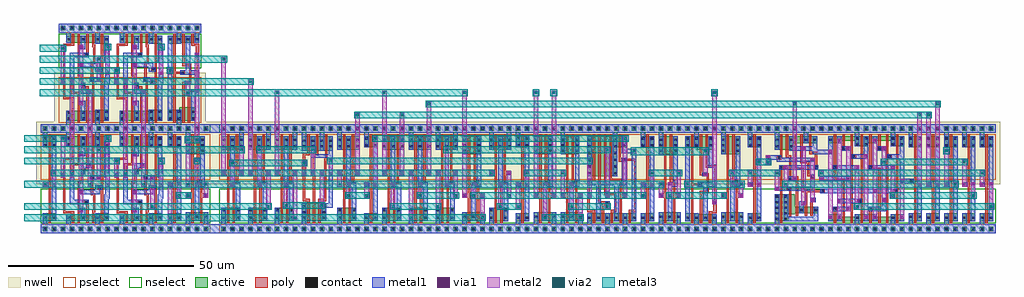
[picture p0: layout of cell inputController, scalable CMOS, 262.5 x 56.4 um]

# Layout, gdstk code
import gdstk
lib = gdstk.Library(unit=1e-6, precision=1e-09)
def R(c, l, rs):  # rectangles x0, y0, x1, y1
    for r in rs: c.add(gdstk.rectangle(r[:2], r[2:], *l))
def A(c, l, x, y, w, h, nx, ny, dx, dy):  # array of equal rectangles
    R(c, l, [(x+i*dx, y+j*dy, x+i*dx+w, y+j*dy+h) for i in range(nx) for j in range(ny)])
def P(c, l, *ps):  # polygons
    for p in ps: c.add(gdstk.Polygon(p, *l))
contact = (25, 0)
nwell = (42, 0)
active = (43, 0)
pselect = (44, 0)
nselect = (45, 0)
poly = (46, 0)
metal1 = (49, 0)
via1 = (50, 0)
metal2 = (51, 0)
via2 = (61, 0)
metal3 = (62, 0)

mux2_dp_1x = lib.new_cell('mux2_dp_1x')
A(mux2_dp_1x, contact, 0.9, -0.3, 0.6, 0.6, 6, 2, 2.4, 27)
A(mux2_dp_1x, contact, 2.4, 2.7, 0.6, 0.6, 3, 2, 3.9, 21.3)
R(mux2_dp_1x, contact, [(12.6,2.7,13.2,3.3), (7.2,6.9,7.8,7.5), (10.8,10.8,11.4,11.4), (8.7,13.5,9.3,14.1), (0.9,14.1,1.5,14.7), (3.3,14.1,3.9,14.7), (6.3,15,6.9,15.6), (10.2,22.2,10.8,22.8), (12.6,22.2,13.2,22.8), (2.4,22.5,3,23.1), (6.3,22.5,6.9,23.1), (12.6,24,13.2,24.6)])
R(mux2_dp_1x, nwell, [(-1.2,12,15.6,28.8)])
A(mux2_dp_1x, active, 0.6, -0.6, 1.2, 1.2, 6, 2, 2.4, 27)
P(mux2_dp_1x, active, [(13.5,4.2),(9.9,4.2),(9.9,3.9),(2.1,3.9),(2.1,2.1),(13.5,2.1)],
  [(13.5,24.9),(2.1,24.9),(2.1,22.2),(9.9,22.2),(9.9,21.9),(13.5,21.9)])
R(mux2_dp_1x, pselect, [(0,-1.2,14.4,1.2), (0,13.2,14.4,25.5)])
R(mux2_dp_1x, nselect, [(0,1.5,14.4,10.8), (0,25.8,14.4,28.2)])
P(mux2_dp_1x, poly, [(4.2,4.8),(1.8,4.8),(1.8,18.6),(4.2,18.6),(4.2,25.5),(3.6,25.5),(3.6,19.2),(1.2,19.2),(1.2,15),(0.6,15),(0.6,13.8),(1.2,13.8),(1.2,4.2),(3.6,4.2),(3.6,1.5),(4.2,1.5)],
  [(5.7,25.5),(5.1,25.5),(5.1,17.7),(3.3,17.7),(3.3,15),(3,15),(3,13.8),(4.2,13.8),(4.2,15),(3.9,15),(3.9,17.1),(5.7,17.1)],
  [(8.1,25.5),(7.5,25.5),(7.5,16.2),(6,16.2),(6,12.9),(5.1,12.9),(5.1,1.5),(5.7,1.5),(5.7,12.3),(6.6,12.3),(6.6,14.7),(7.2,14.7),(7.2,15.6),(8.1,15.6)],
  [(8.1,7.8),(6.9,7.8),(6.9,6.6),(7.5,6.6),(7.5,1.5),(8.1,1.5)],
  [(9.9,9.6),(9.3,9.6),(9.3,13.2),(9.6,13.2),(9.6,25.5),(9,25.5),(9,14.4),(8.4,14.4),(8.4,13.2),(8.7,13.2),(8.7,9),(9.3,9),(9.3,5.1),(9,5.1),(9,1.5),(9.6,1.5),(9.6,4.5),(9.9,4.5)],
  [(12,25.5),(11.4,25.5),(11.4,11.7),(10.5,11.7),(10.5,10.5),(11.4,10.5),(11.4,1.5),(12,1.5)])
R(mux2_dp_1x, metal1, [(0,-1.2,14.4,1.2), (8.4,13.2,11.4,14.4), (0.6,13.8,1.8,15), (0,25.8,14.4,28.2)])
P(mux2_dp_1x, metal1, [(7.2,24.9),(6,24.9),(6,20.7),(5.4,20.7),(5.4,19.5),(7.2,19.5)],
  [(7.2,5.7),(5.4,5.7),(5.4,4.5),(6,4.5),(6,2.1),(7.2,2.1)],
  [(8.1,7.8),(4.2,7.8),(4.2,15),(3,15),(3,6.6),(8.1,6.6)],
  [(9,17.7),(6,17.7),(6,14.7),(7.2,14.7),(7.2,16.5),(9,16.5)],
  [(13.8,15),(13.5,15),(13.5,24.9),(12.3,24.9),(12.3,13.8),(12.6,13.8),(12.6,9.3),(12.3,9.3),(12.3,2.1),(13.5,2.1),(13.5,8.1),(13.8,8.1)],
  [(14.4,1.2),(11.1,1.2),(11.1,4.2),(9.9,4.2),(9.9,1.2),(3.3,1.2),(3.3,3.9),(2.1,3.9),(2.1,1.2),(0,1.2),(0,-1.2),(14.4,-1.2)],
  [(11.7,11.7),(9.9,11.7),(9.9,10.5),(5.4,10.5),(5.4,9.3),(11.1,9.3),(11.1,10.5),(11.7,10.5)],
  [(14.4,28.2),(0,28.2),(0,25.8),(2.1,25.8),(2.1,22.2),(3.3,22.2),(3.3,25.8),(9.9,25.8),(9.9,21.9),(11.1,21.9),(11.1,25.8),(14.4,25.8)])
R(mux2_dp_1x, via1, [(5.7,4.8,6.3,5.4), (5.7,9.6,6.3,10.2), (12.9,11.7,13.5,12.3), (10.5,13.5,11.1,14.1), (0.9,14.1,1.5,14.7), (3.3,14.1,3.9,14.7), (8.1,16.8,8.7,17.4), (5.7,19.8,6.3,20.4)])
R(mux2_dp_1x, metal2, [(5.4,4.5,6.6,20.7), (12.6,11.4,13.8,12.6), (10.2,13.2,11.4,14.4), (0.6,13.8,1.8,15), (3,13.8,4.2,15), (7.8,16.5,9,17.7)])

inv_1x = lib.new_cell('inv_1x')
R(inv_1x, contact, [(0.9,-0.3,1.5,0.3), (3.3,-0.3,3.9,0.3), (0.9,2.7,1.5,3.3), (3.3,2.7,3.9,3.3), (0.9,11.7,1.5,12.3), (0.9,22.2,1.5,22.8), (3.3,22.2,3.9,22.8), (0.9,24,1.5,24.6), (3.3,24,3.9,24.6), (0.9,26.7,1.5,27.3), (3.3,26.7,3.9,27.3)])
R(inv_1x, nwell, [(-1.2,12,6,28.8)])
R(inv_1x, active, [(0.6,-0.6,1.8,0.6), (3,-0.6,4.2,0.6), (0.6,2.1,4.2,4.2), (0.6,21.9,4.2,24.9), (0.6,26.4,1.8,27.6), (3,26.4,4.2,27.6)])
R(inv_1x, pselect, [(0,-1.2,4.8,1.2), (0,13.2,4.8,25.5)])
R(inv_1x, nselect, [(0,1.5,4.8,10.8), (0,25.8,4.8,28.2)])
R(inv_1x, poly, [(2.1,1.5,2.7,25.5), (0.6,11.4,2.1,12.6)])
R(inv_1x, metal1, [(0,-1.2,4.8,1.2), (0,-1.2,4.8,1.2), (0.6,1.2,1.8,4.2), (3,2.1,4.2,24.9), (0.6,11.4,1.8,12.6), (0.6,21.9,1.8,25.8), (0,25.8,4.8,28.2), (0,25.8,4.8,28.2)])
R(inv_1x, via1, [(0.9,11.7,1.5,12.3), (3.3,11.7,3.9,12.3)])
R(inv_1x, metal2, [(0.6,11.4,1.8,12.6), (0.6,11.4,1.8,12.6), (0.6,11.4,1.8,12.6), (0.9,11.4,2.1,12.6), (3,11.4,4.2,12.6), (3,11.4,4.2,12.6)])

nand2_1x = lib.new_cell('nand2_1x')
A(nand2_1x, contact, 0.9, -0.3, 0.6, 0.6, 3, 2, 2.4, 22.2)
A(nand2_1x, contact, 0.9, 23.7, 0.6, 0.6, 3, 2, 2.4, 3)
R(nand2_1x, contact, [(0.9,2.7,1.5,3.3), (4.8,2.7,5.4,3.3), (0.9,4.8,1.5,5.4), (4.8,4.8,5.4,5.4), (0.9,14.7,1.5,15.3), (5.7,14.7,6.3,15.3)])
R(nand2_1x, nwell, [(-1.2,12,8.4,28.8)])
A(nand2_1x, active, 0.6, -0.6, 1.2, 1.2, 3, 2, 2.4, 27)
R(nand2_1x, active, [(0.6,2.1,5.7,5.7), (0.6,21.3,6.6,24.9)])
R(nand2_1x, pselect, [(0,-1.2,7.2,1.2), (0,13.2,7.2,25.5)])
R(nand2_1x, nselect, [(0,1.5,7.2,10.8), (0,25.8,7.2,28.2)])
P(nand2_1x, poly, [(2.7,25.5),(2.1,25.5),(2.1,15.6),(0.6,15.6),(0.6,14.4),(2.1,14.4),(2.1,1.5),(2.7,1.5)],
  [(6.6,15.6),(5.1,15.6),(5.1,25.5),(4.5,25.5),(4.5,12.6),(3.6,12.6),(3.6,1.5),(4.2,1.5),(4.2,12),(5.1,12),(5.1,14.4),(6.6,14.4)])
R(nand2_1x, metal1, [(0,-1.2,7.2,1.2), (0.6,14.4,1.8,15.6), (5.4,14.4,6.6,15.6), (0,25.8,7.2,28.2)])
P(nand2_1x, metal1, [(5.7,12.6),(4.2,12.6),(4.2,24.9),(3,24.9),(3,11.4),(4.5,11.4),(4.5,2.1),(5.7,2.1)],
  [(7.2,28.2),(0,28.2),(0,25.8),(0.6,25.8),(0.6,21.3),(1.8,21.3),(1.8,25.8),(5.4,25.8),(5.4,21.3),(6.6,21.3),(6.6,25.8),(7.2,25.8)],
  [(7.2,1.2),(1.8,1.2),(1.8,5.7),(0.6,5.7),(0.6,1.2),(0,1.2),(0,-1.2),(7.2,-1.2)])
R(nand2_1x, via1, [(3.3,11.7,3.9,12.3), (0.9,14.7,1.5,15.3), (5.7,14.7,6.3,15.3)])
R(nand2_1x, metal2, [(3,11.4,4.2,12.6), (3,11.4,4.2,12.6), (0.6,14.4,1.8,15.6), (0.6,14.4,1.8,15.6), (5.4,14.4,6.6,15.6), (5.4,14.4,6.6,15.6)])

nand3_1x = lib.new_cell('nand3_1x')
A(nand3_1x, contact, 0.9, -0.3, 0.6, 0.6, 4, 2, 2.4, 22.2)
A(nand3_1x, contact, 0.9, 2.7, 0.6, 0.6, 1, 3, 0, 1.5)
A(nand3_1x, contact, 6.3, 2.7, 0.6, 0.6, 1, 3, 0, 1.5)
A(nand3_1x, contact, 0.9, 14.7, 0.6, 0.6, 3, 1, 2.4, 0)
A(nand3_1x, contact, 0.9, 23.4, 0.6, 0.6, 4, 2, 2.4, 3.3)
R(nand3_1x, nwell, [(-1.2,12,10.8,28.8)])
A(nand3_1x, active, 0.6, -0.6, 1.2, 1.2, 4, 2, 2.4, 27)
R(nand3_1x, active, [(0.6,2.1,7.2,6.9), (0.6,21,9,24.9)])
R(nand3_1x, pselect, [(0,-1.2,9.6,1.2), (0,13.2,9.6,25.5)])
R(nand3_1x, nselect, [(0,1.5,9.6,10.8), (0,25.8,9.6,28.2)])
A(nand3_1x, poly, 0.6, 14.4, 1.2, 1.2, 3, 1, 2.4, 0)
P(nand3_1x, poly, [(2.7,8.1),(1.5,8.1),(1.5,19.8),(2.7,19.8),(2.7,25.5),(2.1,25.5),(2.1,20.4),(0.9,20.4),(0.9,7.5),(2.1,7.5),(2.1,1.5),(2.7,1.5)],
  [(5.1,25.5),(4.5,25.5),(4.5,20.4),(3.6,20.4),(3.6,1.5),(4.2,1.5),(4.2,19.8),(5.1,19.8)],
  [(7.5,25.5),(6.9,25.5),(6.9,18.9),(6.6,18.9),(6.6,8.1),(5.1,8.1),(5.1,1.5),(5.7,1.5),(5.7,7.5),(7.2,7.5),(7.2,18.3),(7.5,18.3)])
A(nand3_1x, metal1, 0.6, 14.4, 1.2, 1.2, 3, 1, 2.4, 0)
R(nand3_1x, metal1, [(0,-1.2,9.6,1.2), (0,25.8,9.6,28.2)])
P(nand3_1x, metal1, [(9,24.9),(7.8,24.9),(7.8,20.1),(4.2,20.1),(4.2,24.9),(3,24.9),(3,19.2),(7.8,19.2),(7.8,6.9),(6,6.9),(6,2.1),(7.2,2.1),(7.2,5.7),(9,5.7)],
  [(9.6,28.2),(0,28.2),(0,25.8),(0.6,25.8),(0.6,21),(1.8,21),(1.8,25.8),(5.4,25.8),(5.4,21),(6.6,21),(6.6,25.8),(9.6,25.8)],
  [(9.6,1.2),(1.8,1.2),(1.8,6.9),(0.6,6.9),(0.6,1.2),(0,1.2),(0,-1.2),(9.6,-1.2)])
A(nand3_1x, via1, 0.9, 14.7, 0.6, 0.6, 4, 1, 2.4, 0)
A(nand3_1x, metal2, 0.6, 14.4, 1.2, 1.2, 4, 1, 2.4, 0)

or4_1x = lib.new_cell('or4_1x')
A(or4_1x, contact, 0.9, -0.3, 0.6, 0.6, 6, 2, 2.4, 3)
A(or4_1x, contact, 0.9, 14.7, 0.6, 0.6, 1, 6, 0, 1.8)
A(or4_1x, contact, 7.8, 14.7, 0.6, 0.6, 1, 6, 0, 1.8)
A(or4_1x, contact, 0.9, 26.7, 0.6, 0.6, 6, 1, 2.4, 0)
R(or4_1x, contact, [(5.7,6.6,6.3,7.2), (0.9,8.7,1.5,9.3), (10.5,8.7,11.1,9.3), (5.7,9.3,6.3,9.9), (10.2,18.3,10.8,18.9), (10.2,22.2,10.8,22.8), (10.2,24,10.8,24.6)])
R(or4_1x, nwell, [(-1.2,12,15.6,28.8)])
A(or4_1x, active, 0.6, -0.6, 1.2, 1.2, 6, 2, 2.4, 27)
R(or4_1x, active, [(0.6,2.1,13.8,4.2)])
P(or4_1x, active, [(11.1,24.9),(0.6,24.9),(0.6,14.1),(8.7,14.1),(8.7,21.9),(11.1,21.9)])
R(or4_1x, pselect, [(0,-1.2,14.4,1.2), (0,13.2,14.4,25.5)])
R(or4_1x, nselect, [(0,1.5,14.4,10.8), (0,25.8,14.4,28.2)])
R(or4_1x, poly, [(5.7,9.6,6.6,10.2)])
P(or4_1x, poly, [(6.6,7.5),(4.2,7.5),(4.2,25.5),(3.6,25.5),(3.6,6.9),(4.5,6.9),(4.5,1.5),(5.1,1.5),(5.1,6.3),(6.6,6.3)],
  [(11.4,9.6),(9.9,9.6),(9.9,13.5),(7.2,13.5),(7.2,25.5),(6.6,25.5),(6.6,12.9),(9.3,12.9),(9.3,1.5),(9.9,1.5),(9.9,8.4),(11.4,8.4)],
  [(13.8,18.9),(11.1,18.9),(11.1,19.2),(9.6,19.2),(9.6,25.5),(9,25.5),(9,18),(11.1,18),(11.1,18.3),(13.2,18.3),(13.2,5.1),(11.7,5.1),(11.7,1.5),(12.3,1.5),(12.3,4.5),(13.8,4.5)],
  [(8.4,9.6),(5.7,9.6),(5.7,25.5),(5.1,25.5),(5.1,9),(7.8,9),(7.8,5.1),(6.9,5.1),(6.9,1.5),(7.5,1.5),(7.5,4.5),(8.4,4.5)],
  [(2.7,5.1),(1.2,5.1),(1.2,8.4),(1.8,8.4),(1.8,9.6),(1.2,9.6),(1.2,12.9),(2.7,12.9),(2.7,25.5),(2.1,25.5),(2.1,13.5),(0.6,13.5),(0.6,4.5),(2.1,4.5),(2.1,1.5),(2.7,1.5)])
R(or4_1x, metal1, [(0,-1.2,14.4,1.2), (5.4,5.4,6.6,7.5), (0.6,8.4,1.8,9.6), (5.4,8.4,6.6,10.2), (10.2,8.4,11.4,9.6), (0,25.8,14.4,28.2)])
P(or4_1x, metal1, [(13.8,21.6),(11.1,21.6),(11.1,24.9),(9.9,24.9),(9.9,20.4),(12.6,20.4),(12.6,2.1),(13.8,2.1)],
  [(14.4,28.2),(0,28.2),(0,25.8),(7.5,25.8),(7.5,14.1),(8.7,14.1),(8.7,25.8),(14.4,25.8)],
  [(11.1,19.2),(9.9,19.2),(9.9,12.9),(1.8,12.9),(1.8,24.9),(0.6,24.9),(0.6,11.7),(3,11.7),(3,2.1),(4.2,2.1),(4.2,11.7),(7.8,11.7),(7.8,2.1),(9,2.1),(9,11.7),(11.1,11.7)],
  [(14.4,1.2),(11.4,1.2),(11.4,4.2),(10.2,4.2),(10.2,1.2),(6.6,1.2),(6.6,4.2),(5.4,4.2),(5.4,1.2),(1.8,1.2),(1.8,4.2),(0.6,4.2),(0.6,1.2),(0,1.2),(0,-1.2),(14.4,-1.2)])
A(or4_1x, via1, 0.9, 8.7, 0.6, 0.6, 3, 1, 4.8, 0)
R(or4_1x, via1, [(5.7,5.7,6.3,6.3), (12.9,20.7,13.5,21.3)])
R(or4_1x, metal2, [(5.4,5.4,6.6,6.6), (5.4,5.4,6.6,6.6), (0.6,8.4,1.8,9.6), (0.6,8.4,1.8,9.6), (5.4,8.4,6.6,9.6), (5.4,8.4,6.6,9.6), (10.2,8.4,11.4,9.6), (10.2,8.4,11.4,9.6), (12.6,20.4,13.8,21.6), (12.6,20.4,13.8,21.6)])

nor2_1x = lib.new_cell('nor2_1x')
A(nor2_1x, contact, 0.9, -0.3, 0.6, 0.6, 3, 2, 2.4, 3.3)
A(nor2_1x, contact, 0.9, 20.7, 0.6, 0.6, 1, 3, 0, 1.5)
A(nor2_1x, contact, 4.8, 20.7, 0.6, 0.6, 1, 3, 0, 1.5)
A(nor2_1x, contact, 0.9, 26.7, 0.6, 0.6, 3, 1, 2.4, 0)
R(nor2_1x, contact, [(0.9,8.7,1.5,9.3), (5.7,8.7,6.3,9.3)])
R(nor2_1x, nwell, [(-1.2,12,8.4,28.8)])
A(nor2_1x, active, 0.6, -0.6, 1.2, 1.2, 3, 2, 2.4, 27)
R(nor2_1x, active, [(0.6,2.1,6.6,4.5), (0.6,20.1,5.7,24.9)])
R(nor2_1x, pselect, [(0,-1.2,7.2,1.2), (0,13.2,7.2,25.5)])
R(nor2_1x, nselect, [(0,1.5,7.2,10.8), (0,25.8,7.2,28.2)])
R(nor2_1x, poly, [(2.1,1.5,2.7,25.5), (0.6,8.4,2.1,9.6), (5.1,8.4,6.6,9.6)])
P(nor2_1x, poly, [(5.1,13.2),(4.2,13.2),(4.2,25.5),(3.6,25.5),(3.6,12.6),(4.5,12.6),(4.5,1.5),(5.1,1.5)])
R(nor2_1x, metal1, [(0,-1.2,7.2,1.2), (0.6,8.4,1.8,9.6), (5.4,8.4,6.6,9.6), (0,25.8,7.2,28.2)])
P(nor2_1x, metal1, [(5.7,24.9),(4.5,24.9),(4.5,12.6),(3,12.6),(3,2.1),(4.2,2.1),(4.2,11.4),(5.7,11.4)],
  [(7.2,28.2),(0,28.2),(0,25.8),(0.6,25.8),(0.6,20.1),(1.8,20.1),(1.8,25.8),(7.2,25.8)],
  [(7.2,1.2),(6.6,1.2),(6.6,4.5),(5.4,4.5),(5.4,1.2),(1.8,1.2),(1.8,4.5),(0.6,4.5),(0.6,1.2),(0,1.2),(0,-1.2),(7.2,-1.2)])
R(nor2_1x, via1, [(0.9,8.7,1.5,9.3), (5.7,8.7,6.3,9.3), (3.3,11.7,3.9,12.3)])
R(nor2_1x, metal2, [(0.6,8.4,1.8,9.6), (5.4,8.4,6.6,9.6), (3,11.4,4.2,12.6)])

or2_1x = lib.new_cell('or2_1x')
A(or2_1x, contact, 0.9, -0.3, 0.6, 0.6, 4, 2, 2.4, 3)
A(or2_1x, contact, 0.9, 26.7, 0.6, 0.6, 4, 1, 2.4, 0)
R(or2_1x, contact, [(8.1,6.9,8.7,7.5), (4.2,11.7,4.8,12.3), (5.4,14.4,6,15), (0.9,22.2,1.5,22.8), (3.3,22.2,3.9,22.8), (7.2,22.2,7.8,22.8), (0.9,24,1.5,24.6), (3.3,24,3.9,24.6), (7.2,24,7.8,24.6)])
R(or2_1x, nwell, [(-1.2,12,10.8,28.8)])
A(or2_1x, active, 0.6, -0.6, 1.2, 1.2, 4, 2, 2.4, 27)
R(or2_1x, active, [(0.6,2.1,4.2,4.2), (4.2,2.1,9,3.9), (3.6,21.3,4.2,21.9), (4.2,21.3,8.1,24.9), (0.6,21.9,4.2,24.9)])
R(or2_1x, pselect, [(0,-1.2,9.6,1.2), (0,13.2,9.6,25.5)])
R(or2_1x, nselect, [(0,1.5,9.6,10.8), (0,25.8,9.6,28.2)])
R(or2_1x, poly, [(2.1,1.5,2.7,25.5), (4.5,1.5,5.1,10.2), (6.9,1.5,7.5,4.8), (7.5,4.2,9,4.8), (8.1,4.8,9,6.6), (7.8,6.6,9,7.8), (8.4,7.8,9,17.1), (5.1,9.6,6.3,10.2), (6.3,9.6,6.9,15), (3.9,11.4,5.1,12.6), (2.7,11.7,3.9,12.3), (5.1,14.1,6.3,15.3), (4.5,14.4,5.1,25.5), (6,16.5,6.6,25.5), (6.6,16.5,8.4,17.1)])
R(or2_1x, metal1, [(0,-1.2,9.6,1.2), (0,-1.2,9.6,1.2), (3,1.2,4.2,4.2), (7.8,1.2,9,3.9), (0.6,2.1,1.8,24.9), (5.4,2.1,6.6,11.4), (7.8,6.6,9,7.8), (3.9,11.4,9,12.6), (7.8,12.6,9,17.4), (5.1,14.1,6.6,15.3), (6.9,16.5,8.1,24.9), (3,21.9,4.2,25.8), (0,25.8,9.6,28.2), (0,25.8,9.6,28.2)])
R(or2_1x, via1, [(8.1,6.9,8.7,7.5), (0.9,11.7,1.5,12.3), (5.7,14.4,6.3,15)])
R(or2_1x, metal2, [(7.8,6.6,9,7.8), (0.6,11.4,1.8,12.6), (5.4,14.1,6.6,15.3)])

flopenr_dp_1x = lib.new_cell('flopenr_dp_1x')
A(flopenr_dp_1x, contact, 0.9, -0.3, 0.6, 0.6, 18, 2, 2.4, 27)
A(flopenr_dp_1x, contact, 3.3, 2.4, 0.6, 0.6, 1, 5, 0, 1.5)
A(flopenr_dp_1x, contact, 5.7, 2.4, 0.6, 0.6, 1, 5, 0, 1.5)
A(flopenr_dp_1x, contact, 24.9, 2.7, 0.6, 0.6, 3, 1, 2.4, 0)
A(flopenr_dp_1x, contact, 3.3, 23.7, 0.6, 0.6, 3, 1, 3.9, 0)
A(flopenr_dp_1x, contact, 34.5, 24, 0.6, 0.6, 4, 1, 2.4, 0)
R(flopenr_dp_1x, contact, [(17.7,2.7,18.3,3.3), (20.1,2.7,20.7,3.3), (34.5,2.7,35.1,3.3), (36.9,2.7,37.5,3.3), (39.3,3,39.9,3.6), (41.7,3,42.3,3.6), (9.9,4.8,10.5,5.4), (13.8,4.8,14.4,5.4), (18.9,5.1,19.5,5.7), (28.5,5.1,29.1,5.7), (25.5,7.2,26.1,7.8), (13.2,7.5,13.8,8.1), (15.6,9.9,16.2,10.5), (35.1,9.9,35.7,10.5), (6.6,10.5,7.2,11.1), (39.6,12.6,40.2,13.2), (6.9,13.2,7.5,13.8), (12.9,13.8,13.5,14.4), (4.5,16.2,5.1,16.8), (13.8,16.2,14.4,16.8), (18.9,16.2,19.5,16.8), (28.5,16.2,29.1,16.8), (3.9,18.9,4.5,19.5), (24,19.2,24.6,19.8), (33.6,19.2,34.2,19.8), (21.3,21.3,21.9,21.9), (30.9,21.3,31.5,21.9), (3.3,21.9,3.9,22.5), (7.2,21.9,7.8,22.5), (39.3,22.2,39.9,22.8), (41.7,22.2,42.3,22.8), (24.9,22.5,25.5,23.1), (27.3,22.5,27.9,23.1), (34.5,22.5,35.1,23.1), (36.9,22.5,37.5,23.1), (13.5,23.7,14.1,24.3), (17.7,23.7,18.3,24.3), (20.1,23.7,20.7,24.3), (29.7,23.7,30.3,24.3), (24.9,24,25.5,24.6), (27.3,24,27.9,24.6)])
R(flopenr_dp_1x, nwell, [(-1.2,12,44.4,28.8)])
A(flopenr_dp_1x, active, 0.6, -0.6, 1.2, 1.2, 18, 2, 2.4, 27)
R(flopenr_dp_1x, active, [(3,2.1,6.6,9.3), (17.4,2.1,21,3.9), (21,2.1,24.6,3.3), (24.6,2.1,30.6,3.9), (30.6,2.1,34.2,3.3), (34.2,2.1,37.8,3.9), (39,2.1,42.6,4.2), (6.6,3.9,8.4,9.3), (8.4,4.2,14.7,6), (3,21.3,8.1,24.9), (39,21.9,42.6,24.9), (24.6,22.2,28.2,24.9), (34.2,22.2,37.8,24.9), (8.1,23.1,14.4,24.9), (17.4,23.1,21,24.9), (28.2,23.1,30.6,24.9), (21,23.7,24.6,24.9), (30.6,23.7,34.2,24.9)])
R(flopenr_dp_1x, pselect, [(0,-1.2,43.2,1.2), (0,13.2,43.2,25.5)])
R(flopenr_dp_1x, nselect, [(0,1.5,43.2,10.8), (0,25.8,43.2,28.2)])
P(flopenr_dp_1x, poly, [(5.1,25.5),(4.5,25.5),(4.5,19.8),(3.6,19.8),(3.6,18.6),(4.8,18.6),(4.8,18.9),(5.1,18.9)],
  [(5.4,17.1),(4.2,17.1),(4.2,15.9),(4.5,15.9),(4.5,1.5),(5.1,1.5),(5.1,15.9),(5.4,15.9)],
  [(7.5,11.4),(6.3,11.4),(6.3,10.2),(6.9,10.2),(6.9,3.3),(7.5,3.3)],
  [(9.3,14.1),(7.5,14.1),(7.5,19.8),(6.6,19.8),(6.6,25.5),(6,25.5),(6,19.2),(6.9,19.2),(6.9,14.1),(6.6,14.1),(6.6,12.9),(8.7,12.9),(8.7,3.6),(9.3,3.6)],
  [(13.8,14.7),(12.3,14.7),(12.3,18.3),(10.5,18.3),(10.5,25.5),(9.9,25.5),(9.9,17.7),(11.7,17.7),(11.7,14.1),(12.6,14.1),(12.6,13.5),(13.8,13.5)],
  [(14.1,8.4),(12.9,8.4),(12.9,8.1),(12.6,8.1),(12.6,3.6),(13.2,3.6),(13.2,7.2),(14.1,7.2)],
  [(14.7,17.1),(14.4,17.1),(14.4,20.7),(12.9,20.7),(12.9,25.5),(12.3,25.5),(12.3,20.1),(13.8,20.1),(13.8,17.1),(13.5,17.1),(13.5,15.9),(14.7,15.9)],
  [(16.5,10.8),(15.3,10.8),(15.3,10.5),(10.8,10.5),(10.8,16.5),(9,16.5),(9,25.5),(8.4,25.5),(8.4,15.9),(10.2,15.9),(10.2,9.9),(11.1,9.9),(11.1,3.6),(11.7,3.6),(11.7,9.9),(15.3,9.9),(15.3,9.6),(16.5,9.6)],
  [(19.8,6),(18.6,6),(18.6,4.8),(18.9,4.8),(18.9,1.5),(19.5,1.5),(19.5,4.8),(19.8,4.8)],
  [(21.9,13.5),(19.5,13.5),(19.5,15.9),(19.8,15.9),(19.8,17.1),(19.5,17.1),(19.5,25.5),(18.9,25.5),(18.9,17.1),(18.6,17.1),(18.6,15.9),(18.9,15.9),(18.9,12.9),(21.3,12.9),(21.3,1.5),(21.9,1.5)],
  [(22.2,22.2),(21.9,22.2),(21.9,25.5),(21.3,25.5),(21.3,22.2),(21,22.2),(21,21),(22.2,21)],
  [(24.9,20.1),(24,20.1),(24,25.5),(23.4,25.5),(23.4,1.5),(24,1.5),(24,18.9),(24.9,18.9)],
  [(26.7,25.5),(26.1,25.5),(26.1,8.1),(25.2,8.1),(25.2,6.9),(26.1,6.9),(26.1,1.5),(26.7,1.5)],
  [(29.4,6),(28.2,6),(28.2,4.8),(28.5,4.8),(28.5,1.5),(29.1,1.5),(29.1,4.8),(29.4,4.8)],
  [(31.5,16.5),(29.4,16.5),(29.4,17.1),(29.1,17.1),(29.1,25.5),(28.5,25.5),(28.5,17.1),(28.2,17.1),(28.2,15.9),(30.9,15.9),(30.9,1.5),(31.5,1.5)],
  [(31.8,22.2),(31.5,22.2),(31.5,25.5),(30.9,25.5),(30.9,22.2),(30.6,22.2),(30.6,21),(31.8,21)],
  [(34.5,20.1),(33.6,20.1),(33.6,25.5),(33,25.5),(33,1.5),(33.6,1.5),(33.6,18.9),(34.5,18.9)],
  [(36.3,25.5),(35.7,25.5),(35.7,10.8),(34.8,10.8),(34.8,9.6),(35.7,9.6),(35.7,1.5),(36.3,1.5)],
  [(41.1,25.5),(40.5,25.5),(40.5,13.5),(39.3,13.5),(39.3,12.3),(40.5,12.3),(40.5,1.5),(41.1,1.5)])
R(flopenr_dp_1x, metal1, [(0,-1.2,43.2,1.2), (17.4,2.1,18.6,3.9), (19.8,2.1,21,3.9), (27,2.1,28.2,3.9), (29.4,2.1,30.6,3.9), (36.6,2.1,37.8,3.9), (41.4,2.1,42.6,24.9), (18.6,4.8,23.4,6), (19.8,6.9,26.4,8.1), (12.6,7.2,14.1,8.4), (15.3,9.6,36,10.8), (6.6,12.9,9,14.1), (15,12.9,23.4,14.1), (4.2,15.9,14.7,17.1), (18.6,15.9,25.8,17.1), (28.2,15.9,35.4,17.1), (21,21,23.4,22.2), (30.6,21,33,22.2), (19.8,23.1,21,24.9), (29.4,23.1,30.6,24.9), (0,25.8,43.2,28.2)])
P(flopenr_dp_1x, metal1, [(11.4,7.5),(9.6,7.5),(9.6,4.2),(10.8,4.2),(10.8,6.3),(11.4,6.3)],
  [(13.8,19.2),(4.8,19.2),(4.8,19.8),(0.6,19.8),(0.6,18.6),(3.6,18.6),(3.6,18),(13.8,18)],
  [(13.8,14.7),(12.6,14.7),(12.6,11.4),(3,11.4),(3,10.2),(13.8,10.2)],
  [(14.7,6),(13.5,6),(13.5,3.3),(6.6,3.3),(6.6,9.3),(5.4,9.3),(5.4,2.1),(14.7,2.1)],
  [(18.6,24.9),(17.4,24.9),(17.4,21.3),(14.4,21.3),(14.4,24.9),(13.2,24.9),(13.2,22.2),(8.1,22.2),(8.1,24.9),(6.9,24.9),(6.9,21),(13.2,21),(13.2,20.1),(18.6,20.1)],
  [(28.2,24.9),(27,24.9),(27,20.1),(23.7,20.1),(23.7,18.9),(28.2,18.9)],
  [(33,8.4),(31.8,8.4),(31.8,6),(28.2,6),(28.2,4.8),(33,4.8)],
  [(40.5,13.5),(37.8,13.5),(37.8,24.9),(36.6,24.9),(36.6,20.1),(33.3,20.1),(33.3,18.9),(36.6,18.9),(36.6,12.3),(40.5,12.3)],
  [(43.2,28.2),(0,28.2),(0,25.8),(3,25.8),(3,21.3),(4.2,21.3),(4.2,25.8),(10.8,25.8),(10.8,23.1),(12,23.1),(12,25.8),(24.6,25.8),(24.6,22.2),(25.8,22.2),(25.8,25.8),(34.2,25.8),(34.2,22.2),(35.4,22.2),(35.4,25.8),(39,25.8),(39,21.9),(40.2,21.9),(40.2,25.8),(43.2,25.8)],
  [(43.2,1.2),(40.2,1.2),(40.2,4.2),(39,4.2),(39,1.2),(35.4,1.2),(35.4,3.9),(34.2,3.9),(34.2,1.2),(25.8,1.2),(25.8,3.9),(24.6,3.9),(24.6,1.2),(4.2,1.2),(4.2,9.3),(3,9.3),(3,1.2),(0,1.2),(0,-1.2),(43.2,-1.2)])
A(flopenr_dp_1x, via1, 8.1, 13.2, 0.6, 0.6, 3, 1, 7.2, 0)
R(flopenr_dp_1x, via1, [(17.7,3,18.3,3.6), (20.1,3,20.7,3.6), (27.3,3,27.9,3.6), (29.7,3,30.3,3.6), (36.9,3,37.5,3.6), (22.5,5.1,23.1,5.7), (10.5,6.6,11.1,7.2), (20.1,7.2,20.7,7.8), (12.9,7.5,13.5,8.1), (32.1,7.5,32.7,8.1), (29.7,9.9,30.3,10.5), (3.3,10.5,3.9,11.1), (41.7,11.7,42.3,12.3), (36.9,12.6,37.5,13.2), (5.7,16.2,6.3,16.8), (24.9,16.2,25.5,16.8), (34.5,16.2,35.1,16.8), (12.9,18.3,13.5,18.9), (0.9,18.9,1.5,19.5), (27.3,19.2,27.9,19.8), (17.7,20.4,18.3,21), (10.5,21.3,11.1,21.9), (22.5,21.3,23.1,21.9), (32.1,21.3,32.7,21.9), (20.1,23.4,20.7,24), (29.7,23.4,30.3,24)])
R(flopenr_dp_1x, metal2, [(17.4,2.7,18.6,21.3), (19.8,2.7,21,24.3), (27,2.7,28.2,20.1), (29.4,2.7,30.6,24.3), (36.6,2.7,37.8,13.5), (22.2,4.8,23.4,22.2), (10.2,6.3,11.4,22.2), (12.6,7.2,13.8,19.2), (31.8,7.2,33,8.4), (31.8,7.2,33,22.2), (3,10.2,4.2,11.4), (41.4,11.4,42.6,12.6), (7.8,12.9,9,14.1), (15,12.9,16.2,14.1), (5.4,15.9,6.6,17.1), (24.6,15.9,25.8,17.1), (34.2,15.9,35.4,17.1), (0.6,18.6,1.8,19.8)])

inputcontroller = lib.new_cell('inputController')
R(inputcontroller, metal1, [(0,0,256.8,2.4), (0,0,256.8,2.4), (0,27,256.8,29.4), (0,27,256.8,29.4), (4.8,54,43.2,56.4), (4.8,54,43.2,56.4)])
A(inputcontroller, metal2, 87, 9.6, 1.2, 4.2, 3, 1, 14.4, 0)
A(inputcontroller, metal2, 111, 9.6, 1.2, 7.2, 3, 1, 14.4, 0)
R(inputcontroller, metal2, [(34.2,3.6,35.4,13.8), (67.8,3.6,69,16.8), (99,3.6,100.2,16.8), (118.2,3.6,119.4,10.8), (135,3.6,136.2,13.8), (144.6,3.6,145.8,10.8), (29.4,6.6,30.6,15.6), (60.6,6.6,61.8,16.8), (94.2,6.6,95.4,13.8), (106.2,6.6,107.4,16.8), (123,6.6,124.2,13.8), (127.8,6.6,129,13.8), (142.2,6.6,143.4,13.8), (219,6.6,220.2,18.3), (255,6.6,256.2,13.8), (65.4,6.9,66.6,13.8), (75,6.9,76.2,16.8), (180.6,7.8,181.8,38.4), (36.6,9.6,37.8,13.8), (43.8,9.6,45,13.8), (82.2,9.6,83.4,13.8), (113.4,9.6,114.6,38.4), (132.6,9.6,133.8,38.4), (137.4,9.6,138.6,38.4), (147,9.6,148.2,20.1), (151.8,9.6,153,23.1), (156.6,9.6,157.8,26.1), (161.4,9.6,162.6,13.8), (166.2,9.6,167.4,13.8), (168.6,9.6,169.8,13.8), (171,9.6,172.2,16.8), (187.8,9.6,189,13.8), (228.6,9.6,229.8,18.3), (250.2,9.6,251.4,13.8), (197.4,11.4,198.6,16.8), (3,12.6,4.2,16.8), (12.6,12.6,13.8,38.7), (17.4,12.6,18.6,26.1), (27,12.6,28.2,38.7), (31.8,12.6,33,20.1), (39,12.6,40.2,25.8), (41.4,12.6,42.6,20.1), (51,12.6,52.2,19.5), (58.2,12.6,59.4,23.1), (79.8,12.6,81,16.8), (89.4,12.6,90.6,26.1), (108.6,12.6,109.8,23.1), (130.2,12.6,131.4,16.8), (163.8,12.6,165,16.8), (185.4,12.6,186.6,16.8), (190.2,12.6,191.4,16.8), (192.6,12.6,193.8,19.8), (199.8,12.6,201,18.3), (235.8,12.6,237,32.4), (238.2,12.6,239.4,32.4), (240.6,12.6,241.8,35.4), (243,12.6,244.2,22.8), (247.8,12.6,249,19.8), (252.6,12.6,253.8,16.8), (202.2,14.1,203.4,35.4), (209.4,14.1,210.6,16.8), (15,14.4,16.2,23.1), (5.4,15,6.6,26.1), (7.8,15,9,41.4), (19.8,15,21,20.1), (22.2,15,23.4,41.4), (178.2,15.3,179.4,22.8), (48.6,15.6,49.8,47.4), (53.4,15.6,54.6,23.1), (55.8,15.6,57,41.4), (63,15.6,64.2,38.4), (70.2,15.6,71.4,19.5), (72.6,15.6,73.8,23.1), (77.4,15.6,78.6,20.1), (84.6,15.6,85.8,32.4), (91.8,15.6,93,38.4), (96.6,15.6,97.8,32.4), (103.8,15.6,105,35.4), (195,18.6,196.2,21), (41.4,24.6,42.6,48.6), (39,37.2,40.2,41.1), (5.4,40.2,6.6,50.4), (19.8,40.2,21,44.4), (29.4,40.2,30.6,42), (15,40.8,16.2,47.4), (17.4,42.6,18.6,50.7), (31.8,42.6,33,50.7), (34.2,42.6,35.4,44.4)])
A(inputcontroller, via2, 120.9, 15.9, 0.6, 0.6, 3, 1, 9.6, 0)
R(inputcontroller, via2, [(34.5,3.9,35.1,4.5), (68.1,3.9,68.7,4.5), (99.3,3.9,99.9,4.5), (118.5,3.9,119.1,4.5), (135.3,3.9,135.9,4.5), (144.9,3.9,145.5,4.5), (29.7,6.9,30.3,7.5), (60.9,6.9,61.5,7.5), (94.5,6.9,95.1,7.5), (106.5,6.9,107.1,7.5), (123.3,6.9,123.9,7.5), (128.1,6.9,128.7,7.5), (142.5,6.9,143.1,7.5), (152.1,6.9,152.7,7.5), (219.3,6.9,219.9,7.5), (255.3,6.9,255.9,7.5), (65.7,7.2,66.3,7.8), (75.3,7.2,75.9,7.8), (36.9,9.9,37.5,10.5), (39.3,9.9,39.9,10.5), (82.5,9.9,83.1,10.5), (87.3,9.9,87.9,10.5), (101.7,9.9,102.3,10.5), (111.3,9.9,111.9,10.5), (116.1,9.9,116.7,10.5), (125.7,9.9,126.3,10.5), (161.7,9.9,162.3,10.5), (168.9,9.9,169.5,10.5), (183.3,9.9,183.9,10.5), (228.9,9.9,229.5,10.5), (250.5,9.9,251.1,10.5), (0.9,12.9,1.5,13.5), (12.9,12.9,13.5,13.5), (27.3,12.9,27.9,13.5), (39.3,12.9,39.9,13.5), (44.1,12.9,44.7,13.5), (80.1,12.9,80.7,13.5), (166.5,12.9,167.1,13.5), (173.7,12.9,174.3,13.5), (188.1,12.9,188.7,13.5), (200.1,12.9,200.7,13.5), (245.7,12.9,246.3,13.5), (3.3,15.9,3.9,16.5), (8.1,15.9,8.7,16.5), (22.5,15.9,23.1,16.5), (164.1,15.9,164.7,16.5), (171.3,15.9,171.9,16.5), (185.7,15.9,186.3,16.5), (190.5,15.9,191.1,16.5), (197.7,15.9,198.3,16.5), (209.7,15.9,210.3,16.5), (252.9,15.9,253.5,16.5), (51.3,18.6,51.9,19.2), (70.5,18.6,71.1,19.2), (192.9,18.9,193.5,19.5), (195.3,18.9,195.9,19.5), (226.5,18.9,227.1,19.5), (248.1,18.9,248.7,19.5), (20.1,19.2,20.7,19.8), (32.1,19.2,32.7,19.8), (41.7,19.2,42.3,19.8), (77.7,19.2,78.3,19.8), (147.3,19.2,147.9,19.8), (159.3,21.9,159.9,22.5), (178.5,21.9,179.1,22.5), (243.3,21.9,243.9,22.5), (15.3,22.2,15.9,22.8), (53.7,22.2,54.3,22.8), (58.5,22.2,59.1,22.8), (72.9,22.2,73.5,22.8), (108.9,22.2,109.5,22.8), (152.1,22.2,152.7,22.8), (39.3,24.9,39.9,25.5), (41.7,24.9,42.3,25.5), (5.7,25.2,6.3,25.8), (17.7,25.2,18.3,25.8), (89.7,25.2,90.3,25.8), (156.9,25.2,157.5,25.8), (84.9,31.5,85.5,32.1), (96.9,31.5,97.5,32.1), (236.1,31.5,236.7,32.1), (238.5,31.5,239.1,32.1), (104.1,34.5,104.7,35.1), (202.5,34.5,203.1,35.1), (240.9,34.5,241.5,35.1), (39.3,37.5,39.9,38.1), (63.3,37.5,63.9,38.1), (92.1,37.5,92.7,38.1), (113.7,37.5,114.3,38.1), (132.9,37.5,133.5,38.1), (137.7,37.5,138.3,38.1), (180.9,37.5,181.5,38.1), (29.7,40.5,30.3,41.1), (56.1,40.5,56.7,41.1), (20.1,43.5,20.7,44.1), (34.5,43.5,35.1,44.1), (15.3,46.5,15.9,47.1), (48.9,46.5,49.5,47.1), (5.7,49.5,6.3,50.1), (17.7,49.8,18.3,50.4), (32.1,49.8,32.7,50.4)])
A(inputcontroller, metal3, -4.5, 18.6, 1.8, 1.8, 1, 3, 0, 3)
A(inputcontroller, metal3, -0.3, 36.9, 1.8, 1.8, 1, 5, 0, 3)
R(inputcontroller, metal3, [(-4.5,3.3,-2.7,5.1), (-4.5,3.3,119.7,5.1), (134.7,3.3,146.1,5.1), (-4.5,6.3,-2.7,8.1), (-4.5,6.3,62.1,8.1), (93.9,6.3,107.7,8.1), (122.7,6.3,129.3,8.1), (141.9,6.3,153.3,8.1), (218.7,6.3,256.5,8.1), (65.1,6.6,76.5,8.4), (36.3,9.3,40.5,11.1), (81.9,9.3,88.5,11.1), (101.1,9.3,112.5,11.1), (115.5,9.3,162.9,11.1), (168.3,9.3,184.5,11.1), (228.3,9.3,251.7,11.1), (-4.5,12.3,-2.7,14.1), (-4.5,12.3,167.7,14.1), (173.1,12.3,189.3,14.1), (173.1,12.3,174.9,14.1), (199.5,12.3,246.9,14.1), (2.7,15.3,122.1,17.1), (129.9,15.3,141.3,17.1), (163.5,15.3,172.5,17.1), (185.1,15.3,198.9,17.1), (209.1,15.3,254.1,17.1), (252.3,15.3,254.1,17.1), (50.7,18,71.7,19.8), (192.3,18.3,196.5,20.1), (225.9,18.3,249.3,20.1), (247.5,18.3,249.3,20.1), (-4.5,18.6,21.3,20.4), (31.5,18.6,33.3,20.4), (31.5,18.6,33.3,20.4), (31.5,18.6,33.3,20.4), (41.1,18.6,42.9,20.4), (41.1,18.6,42.9,20.4), (41.1,18.6,42.9,20.4), (77.1,18.6,148.5,20.4), (158.7,21,179.7,23.1), (158.7,21,160.8,23.1), (242.7,21.3,244.5,23.1), (242.7,21.3,244.5,23.1), (-4.5,21.6,54.9,23.4), (57.9,21.6,74.1,23.4), (108.3,21.6,153.3,23.4), (38.7,24.3,42.9,26.1), (-4.5,24.6,6.9,26.4), (17.1,24.6,18.9,26.4), (17.1,24.6,18.9,26.4), (17.1,24.6,18.9,26.4), (89.1,24.6,158.1,26.4), (84.3,30.9,239.7,32.7), (103.5,33.9,242.1,35.7), (-0.3,36.9,114.9,38.7), (132.3,36.9,134.1,38.7), (132.3,36.9,134.1,38.7), (132.3,36.9,134.1,38.7), (137.1,36.9,138.9,38.7), (137.1,36.9,138.9,38.7), (137.1,36.9,138.9,38.7), (180.3,36.9,182.1,38.7), (180.3,36.9,182.1,38.7), (-0.3,39.9,57.3,41.7), (-0.3,42.9,21.3,44.7), (33.9,42.9,35.7,44.7), (33.9,42.9,35.7,44.7), (33.9,42.9,35.7,44.7), (-0.3,45.9,50.1,47.7), (-0.3,48.9,6.9,50.7), (17.1,49.2,18.9,51), (17.1,49.2,18.9,51), (17.1,49.2,18.9,51), (31.5,49.2,33.3,51), (31.5,49.2,33.3,51), (31.5,49.2,33.3,51)])
inputcontroller.add(gdstk.Reference(mux2_dp_1x, (4.8,55.2), x_reflection=True))
inputcontroller.add(gdstk.Reference(mux2_dp_1x, (19.2,55.2), x_reflection=True))
inputcontroller.add(gdstk.Reference(mux2_dp_1x, (19.2,1.2)))
inputcontroller.add(gdstk.Reference(mux2_dp_1x, (4.8,1.2)))
inputcontroller.add(gdstk.Reference(inv_1x, (252,1.2)))
inputcontroller.add(gdstk.Reference(inv_1x, (247.2,1.2)))
inputcontroller.add(gdstk.Reference(inv_1x, (242.4,1.2)))
inputcontroller.add(gdstk.Reference(inv_1x, (237.6,1.2)))
inputcontroller.add(gdstk.Reference(inv_1x, (189.6,1.2)))
inputcontroller.add(gdstk.Reference(inv_1x, (160.8,1.2)))
inputcontroller.add(gdstk.Reference(inv_1x, (127.2,1.2)))
inputcontroller.add(gdstk.Reference(inv_1x, (86.4,1.2)))
inputcontroller.add(gdstk.Reference(inv_1x, (0,1.2)))
inputcontroller.add(gdstk.Reference(inv_1x, (33.6,1.2)))
inputcontroller.add(gdstk.Reference(nand2_1x, (120,1.2)))
inputcontroller.add(gdstk.Reference(nand2_1x, (62.4,1.2)))
inputcontroller.add(gdstk.Reference(nand2_1x, (55.2,1.2)))
inputcontroller.add(gdstk.Reference(nand2_1x, (48,1.2)))
inputcontroller.add(gdstk.Reference(nand2_1x, (105.6,1.2)))
inputcontroller.add(gdstk.Reference(nand2_1x, (98.4,1.2)))
inputcontroller.add(gdstk.Reference(nand2_1x, (91.2,1.2)))
inputcontroller.add(gdstk.Reference(nand2_1x, (79.2,1.2)))
inputcontroller.add(gdstk.Reference(nand3_1x, (69.6,1.2)))
inputcontroller.add(gdstk.Reference(or4_1x, (146.4,1.2)))
inputcontroller.add(gdstk.Reference(nor2_1x, (38.4,1.2)))
inputcontroller.add(gdstk.Reference(nor2_1x, (182.4,1.2)))
inputcontroller.add(gdstk.Reference(nor2_1x, (132,1.2)))
inputcontroller.add(gdstk.Reference(nor2_1x, (139.2,1.2)))
inputcontroller.add(gdstk.Reference(nor2_1x, (112.8,1.2)))
inputcontroller.add(gdstk.Reference(nor2_1x, (165.6,1.2)))
inputcontroller.add(gdstk.Reference(or2_1x, (172.8,1.2)))
inputcontroller.add(gdstk.Reference(or2_1x, (33.6,55.2), x_reflection=True))
inputcontroller.add(gdstk.Reference(flopenr_dp_1x, (194.4,1.2)))

lib.write_gds('inputController.gds')
